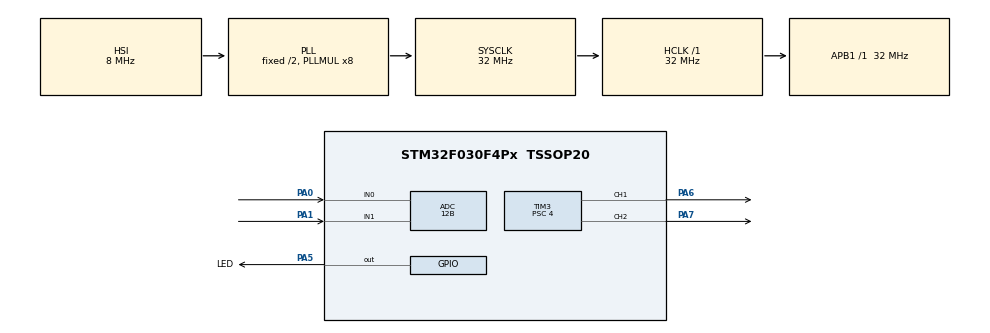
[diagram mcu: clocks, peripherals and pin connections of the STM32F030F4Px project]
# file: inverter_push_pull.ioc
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ADC.ClockPrescaler=ADC_CLOCK_ASYNC_DIV1
ADC.ContinuousConvMode=ENABLE
ADC.DMAContinuousRequests=ENABLE
ADC.DiscontinuousConvMode=DISABLE
ADC.EOCSelection=ADC_EOC_SEQ_CONV
ADC.Overrun=ADC_OVR_DATA_OVERWRITTEN
ADC.Resolution=ADC_RESOLUTION_12B
ADC.SamplingTime=ADC_SAMPLETIME_239CYCLES_5
Dma.ADC.0.Direction=DMA_PERIPH_TO_MEMORY
Dma.ADC.0.Instance=DMA1_Channel1
Dma.ADC.0.MemDataAlignment=DMA_MDATAALIGN_WORD
Dma.ADC.0.MemInc=DMA_MINC_ENABLE
Dma.ADC.0.Mode=DMA_CIRCULAR
Dma.ADC.0.PeriphDataAlignment=DMA_PDATAALIGN_WORD
Dma.ADC.0.PeriphInc=DMA_PINC_DISABLE
Dma.ADC.0.Priority=DMA_PRIORITY_LOW
Dma.Request0=ADC
Mcu.Family=STM32F0
Mcu.Name=STM32F030F4Px
Mcu.Package=TSSOP20
NVIC.DMA1_Channel1_IRQn=true\:0\:0\:false\:false\:true\:false\:true\:true
NVIC.TIM14_IRQn=true\:0\:0\:false\:false\:true\:true\:true\:true
PA0.Mode=IN0
PA0.Signal=ADC_IN0
PA1.Mode=IN1
PA1.Signal=ADC_IN1
PA13.Mode=Serial_Wire
PA13.Signal=SYS_SWDIO
PA14.Mode=Serial_Wire
PA14.Signal=SYS_SWCLK
PA5.GPIO_Label=LED
PA5.Signal=GPIO_Output
PA6.Signal=S_TIM3_CH1
PA7.Signal=S_TIM3_CH2
ProjectManager.HeapSize=0x200
ProjectManager.StackSize=0x400
ProjectManager.TargetToolchain=STM32CubeIDE
RCC.AHBFreq_Value=32000000
RCC.APB1Freq_Value=32000000
RCC.APB1TimFreq_Value=32000000
RCC.HCLKFreq_Value=32000000
RCC.PLLMUL=RCC_PLL_MUL8
RCC.SYSCLKFreq_VALUE=32000000
RCC.SYSCLKSource=RCC_SYSCLKSOURCE_PLLCLK
SH.S_TIM3_CH1.0=TIM3_CH1,PWM Generation1 CH1
SH.S_TIM3_CH2.0=TIM3_CH2,PWM Generation2 CH2
TIM14.Period=1569
TIM14.Prescaler=4
TIM3.Channel-PWM\ Generation1\ CH1=TIM_CHANNEL_1
TIM3.Channel-PWM\ Generation2\ CH2=TIM_CHANNEL_2
TIM3.Period=1569
TIM3.Prescaler=4
VP_TIM14_VS_ClockSourceINT.Mode=Enable_Timer
board=custom

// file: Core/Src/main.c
/* USER CODE BEGIN Header */
/**
  ******************************************************************************
  * @file           : main.c
  * @brief          : Main program body
  ******************************************************************************
  * @attention
  *
  * Copyright (c) 2024 STMicroelectronics.
  * All rights reserved.
  *
  * This software is licensed under terms that can be found in the LICENSE file
  * in the root directory of this software component.
  * If no LICENSE file comes with this software, it is provided AS-IS.
  *
  ******************************************************************************
  */
/* USER CODE END Header */
#include "main.h"

/* USER CODE BEGIN Includes */
#include "sin.h"
#include "presets.h"
/* USER CODE END Includes */

ADC_HandleTypeDef hadc;
DMA_HandleTypeDef hdma_adc;

TIM_HandleTypeDef htim3;
TIM_HandleTypeDef htim14;

/* USER CODE BEGIN PV */
int started = 0;
volatile int phase = 0;
volatile int count = 0;
volatile int adc_completed = 0;
uint32_t lut[SAMPLES];
uint8_t k = DEFAULT_K;
uint32_t last_measure = 0;
/* USER CODE END PV */

void SystemClock_Config(void);
static void MX_GPIO_Init(void);
static void MX_DMA_Init(void);
static void MX_TIM3_Init(void);
static void MX_TIM14_Init(void);
static void MX_ADC_Init(void);

/* USER CODE BEGIN 0 */

void HAL_TIM_PeriodElapsedCallback(TIM_HandleTypeDef *htim) {
    if(htim->Instance == TIM14) {
    	if(count == SAMPLES) {
    		TIM3->CCR1 = 0;
    		TIM3->CCR2 = 0;
    		phase ^= 1;
    		count = 0;
    	}
    	if (phase == 0) {
    		TIM3->CCR1 = lut[count++];
    	}
    	else {
    		TIM3->CCR2 = lut[count++];
    	}
    }
}
void HAL_ADC_ConvCpltCallback(ADC_HandleTypeDef *hadc) {
	adc_completed = 1;
}

void start_inverter() {
	if (started == 1) return;
	count = 0;
	HAL_TIM_Base_Start_IT(&htim14);
	HAL_TIM_PWM_Start(&htim3, TIM_CHANNEL_1);
	HAL_TIM_PWM_Start(&htim3, TIM_CHANNEL_2);
	started = 1;
}

void stop_inverter() {
	if (started == 0) return;
	HAL_TIM_Base_Stop_IT(&htim14);
	HAL_TIM_PWM_Stop(&htim3, TIM_CHANNEL_1);
	HAL_TIM_PWM_Stop(&htim3, TIM_CHANNEL_2);
	started = 0;
}

void check_battery(uint32_t voltage) {
  if (voltage > UVR && voltage < OVR) {
    HAL_GPIO_WritePin(LED_GPIO_Port, LED_Pin, GPIO_PIN_RESET);
	start_inverter();
  }
  else if (voltage < UVP || voltage > OVP) {
	stop_inverter();
	k = DEFAULT_K;
	HAL_GPIO_WritePin(LED_GPIO_Port, LED_Pin, GPIO_PIN_SET);
  }
}
/* USER CODE END 0 */

int main(void)
{
  /* USER CODE BEGIN 1 */
  uint32_t adc_buf[2];
  measurement_t feedback = {0, 0};
  measurement_t battery = {0, 0};
  calculate_sintable(lut, k);
  /* USER CODE END 1 */

  /* MCU Configuration--------------------------------------------------------*/

  /* Reset of all peripherals, Initializes the Flash interface and the Systick. */
  HAL_Init();

  /* Configure the system clock */
  SystemClock_Config();

  /* Initialize all configured peripherals */
  MX_GPIO_Init();
  MX_DMA_Init();
  MX_TIM3_Init();
  MX_TIM14_Init();
  MX_ADC_Init();
  /* USER CODE BEGIN 2 */
  HAL_ADC_Start_DMA(&hadc, adc_buf, 2);
  /* USER CODE END 2 */

  /* Infinite loop */
  /* USER CODE BEGIN WHILE */

//  HAL_TIM_Base_Start_IT(&htim14);
//  HAL_TIM_PWM_Start(&htim3, TIM_CHANNEL_1);
//  HAL_TIM_PWM_Start(&htim3, TIM_CHANNEL_2);

  while (1)
  {
    if(adc_completed == 1) {
      adc_completed = 0;
	  if(started == 1) {
        feedback.voltage += adc_buf[0];
		feedback.count++;
	  }
	  if(HAL_GetTick() - last_measure > 1000) {
		battery.voltage += adc_buf[1];
		battery.count++;
		if(battery.count == 0xFF) {
			uint32_t avg = battery.voltage >> 8;
			battery.voltage = 0;
			battery.count = 0;
			check_battery(avg);
			last_measure = HAL_GetTick();
		}
	  }
    }

	if(feedback.count == 0xFF) {
      uint32_t avg = feedback.voltage >> 8;
	  feedback.voltage = 0;
	  feedback.count = 0;
	  if(avg > FB_MAX) {
        k--;
        calculate_sintable(lut, k);
      }
      else if (avg < FB_MIN && k < 0xFF) {
		k++;
        calculate_sintable(lut, k);
      }
    }

    /* USER CODE END WHILE */

  }
}

void SystemClock_Config(void)
{
  RCC_OscInitTypeDef RCC_OscInitStruct = {0};
  RCC_ClkInitTypeDef RCC_ClkInitStruct = {0};

  /** Initializes the RCC Oscillators according to the specified parameters
  * in the RCC_OscInitTypeDef structure.
  */
  RCC_OscInitStruct.OscillatorType = RCC_OSCILLATORTYPE_HSI|RCC_OSCILLATORTYPE_HSI14;
  RCC_OscInitStruct.HSIState = RCC_HSI_ON;
  RCC_OscInitStruct.HSI14State = RCC_HSI14_ON;
  RCC_OscInitStruct.HSICalibrationValue = RCC_HSICALIBRATION_DEFAULT;
  RCC_OscInitStruct.HSI14CalibrationValue = 16;
  RCC_OscInitStruct.PLL.PLLState = RCC_PLL_ON;
  RCC_OscInitStruct.PLL.PLLSource = RCC_PLLSOURCE_HSI;
  RCC_OscInitStruct.PLL.PLLMUL = RCC_PLL_MUL8;
  RCC_OscInitStruct.PLL.PREDIV = RCC_PREDIV_DIV1;
  if (HAL_RCC_OscConfig(&RCC_OscInitStruct) != HAL_OK)
  {
    Error_Handler();
  }

  /** Initializes the CPU, AHB and APB buses clocks
  */
  RCC_ClkInitStruct.ClockType = RCC_CLOCKTYPE_HCLK|RCC_CLOCKTYPE_SYSCLK
                              |RCC_CLOCKTYPE_PCLK1;
  RCC_ClkInitStruct.SYSCLKSource = RCC_SYSCLKSOURCE_PLLCLK;
  RCC_ClkInitStruct.AHBCLKDivider = RCC_SYSCLK_DIV1;
  RCC_ClkInitStruct.APB1CLKDivider = RCC_HCLK_DIV1;

  if (HAL_RCC_ClockConfig(&RCC_ClkInitStruct, FLASH_LATENCY_1) != HAL_OK)
  {
    Error_Handler();
  }
}

static void MX_ADC_Init(void)
{

  ADC_ChannelConfTypeDef sConfig = {0};

  /** Configure the global features of the ADC (Clock, Resolution, Data Alignment and number of conversion)
  */
  hadc.Instance = ADC1;
  hadc.Init.ClockPrescaler = ADC_CLOCK_ASYNC_DIV1;
  hadc.Init.Resolution = ADC_RESOLUTION_12B;
  hadc.Init.DataAlign = ADC_DATAALIGN_RIGHT;
  hadc.Init.ScanConvMode = ADC_SCAN_DIRECTION_FORWARD;
  hadc.Init.EOCSelection = ADC_EOC_SEQ_CONV;
  hadc.Init.LowPowerAutoWait = DISABLE;
  hadc.Init.LowPowerAutoPowerOff = DISABLE;
  hadc.Init.ContinuousConvMode = ENABLE;
  hadc.Init.DiscontinuousConvMode = DISABLE;
  hadc.Init.ExternalTrigConv = ADC_SOFTWARE_START;
  hadc.Init.ExternalTrigConvEdge = ADC_EXTERNALTRIGCONVEDGE_NONE;
  hadc.Init.DMAContinuousRequests = ENABLE;
  hadc.Init.Overrun = ADC_OVR_DATA_OVERWRITTEN;
  if (HAL_ADC_Init(&hadc) != HAL_OK)
  {
    Error_Handler();
  }

  /** Configure for the selected ADC regular channel to be converted.
  */
  sConfig.Channel = ADC_CHANNEL_0;
  sConfig.Rank = ADC_RANK_CHANNEL_NUMBER;
  sConfig.SamplingTime = ADC_SAMPLETIME_239CYCLES_5;
  if (HAL_ADC_ConfigChannel(&hadc, &sConfig) != HAL_OK)
  {
    Error_Handler();
  }

  /** Configure for the selected ADC regular channel to be converted.
  */
  sConfig.Channel = ADC_CHANNEL_1;
  if (HAL_ADC_ConfigChannel(&hadc, &sConfig) != HAL_OK)
  {
    Error_Handler();
  }

}

static void MX_TIM3_Init(void)
{

  TIM_MasterConfigTypeDef sMasterConfig = {0};
  TIM_OC_InitTypeDef sConfigOC = {0};

  /* USER CODE BEGIN TIM3_Init 1 */
  htim3.Init.Prescaler = TIMER_PRESCALER;
  htim3.Init.Period = TIMER_PERIOD;
  /* USER CODE END TIM3_Init 1 */
  htim3.Instance = TIM3;
  htim3.Init.CounterMode = TIM_COUNTERMODE_UP;
  htim3.Init.ClockDivision = TIM_CLOCKDIVISION_DIV1;
  htim3.Init.AutoReloadPreload = TIM_AUTORELOAD_PRELOAD_DISABLE;
  if (HAL_TIM_PWM_Init(&htim3) != HAL_OK)
  {
    Error_Handler();
  }
  sMasterConfig.MasterOutputTrigger = TIM_TRGO_RESET;
  sMasterConfig.MasterSlaveMode = TIM_MASTERSLAVEMODE_DISABLE;
  if (HAL_TIMEx_MasterConfigSynchronization(&htim3, &sMasterConfig) != HAL_OK)
  {
    Error_Handler();
  }
  sConfigOC.OCMode = TIM_OCMODE_PWM1;
  sConfigOC.Pulse = 0;
  sConfigOC.OCPolarity = TIM_OCPOLARITY_HIGH;
  sConfigOC.OCFastMode = TIM_OCFAST_DISABLE;
  if (HAL_TIM_PWM_ConfigChannel(&htim3, &sConfigOC, TIM_CHANNEL_1) != HAL_OK)
  {
    Error_Handler();
  }
  if (HAL_TIM_PWM_ConfigChannel(&htim3, &sConfigOC, TIM_CHANNEL_2) != HAL_OK)
  {
    Error_Handler();
  }
  HAL_TIM_MspPostInit(&htim3);

}

static void MX_TIM14_Init(void)
{

  /* USER CODE BEGIN TIM14_Init 1 */
  htim14.Init.Prescaler = TIMER_PRESCALER;
  htim14.Init.Period = TIMER_PERIOD;
  /* USER CODE END TIM14_Init 1 */
  htim14.Instance = TIM14;
  htim14.Init.CounterMode = TIM_COUNTERMODE_UP;
  htim14.Init.ClockDivision = TIM_CLOCKDIVISION_DIV1;
  htim14.Init.AutoReloadPreload = TIM_AUTORELOAD_PRELOAD_DISABLE;
  if (HAL_TIM_Base_Init(&htim14) != HAL_OK)
  {
    Error_Handler();
  }

}

static void MX_DMA_Init(void)
{

  /* DMA controller clock enable */
  __HAL_RCC_DMA1_CLK_ENABLE();

  /* DMA interrupt init */
  /* DMA1_Channel1_IRQn interrupt configuration */
  HAL_NVIC_SetPriority(DMA1_Channel1_IRQn, 0, 0);
  HAL_NVIC_EnableIRQ(DMA1_Channel1_IRQn);

}

static void MX_GPIO_Init(void)
{
  GPIO_InitTypeDef GPIO_InitStruct = {0};

  /* GPIO Ports Clock Enable */
  __HAL_RCC_GPIOA_CLK_ENABLE();

  /*Configure GPIO pin Output Level */
  HAL_GPIO_WritePin(LED_GPIO_Port, LED_Pin, GPIO_PIN_RESET);

  /*Configure GPIO pin : LED_Pin */
  GPIO_InitStruct.Pin = LED_Pin;
  GPIO_InitStruct.Mode = GPIO_MODE_OUTPUT_PP;
  GPIO_InitStruct.Pull = GPIO_NOPULL;
  GPIO_InitStruct.Speed = GPIO_SPEED_FREQ_LOW;
  HAL_GPIO_Init(LED_GPIO_Port, &GPIO_InitStruct);

}

void Error_Handler(void)
{
  __disable_irq();
  while (1)
  {
  }
}
